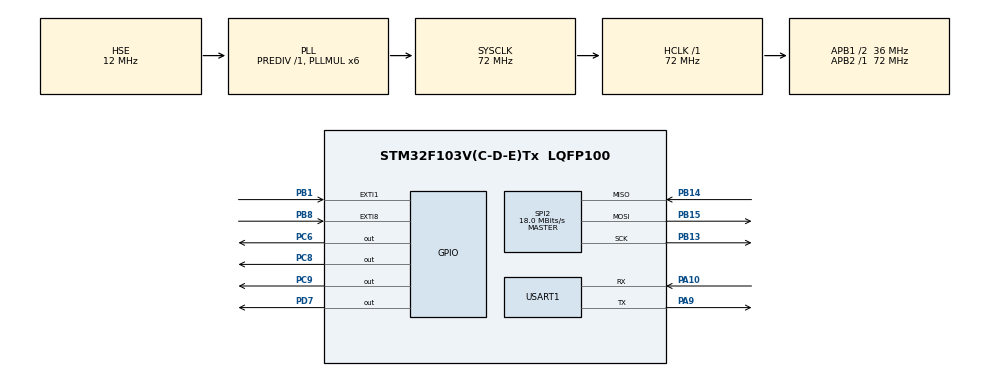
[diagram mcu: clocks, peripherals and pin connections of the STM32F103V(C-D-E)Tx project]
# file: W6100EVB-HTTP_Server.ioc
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Mcu.Family=STM32F1
Mcu.Name=STM32F103V(C-D-E)Tx
Mcu.Package=LQFP100
NVIC.PriorityGroup=NVIC_PRIORITYGROUP_4
NVIC.USART1_IRQn=true\:0\:0\:false\:false\:true\:true\:true
OSC_IN.Mode=HSE-External-Oscillator
OSC_IN.Signal=RCC_OSC_IN
OSC_OUT.Mode=HSE-External-Oscillator
OSC_OUT.Signal=RCC_OSC_OUT
PA10.Mode=Asynchronous
PA10.Signal=USART1_RX
PA13.Mode=Serial_Wire
PA13.Signal=SYS_JTMS-SWDIO
PA14.Mode=Serial_Wire
PA14.Signal=SYS_JTCK-SWCLK
PA9.Mode=Asynchronous
PA9.Signal=USART1_TX
PB1.Signal=GPXTI1
PB13.Mode=Full_Duplex_Master
PB13.Signal=SPI2_SCK
PB14.Mode=Full_Duplex_Master
PB14.Signal=SPI2_MISO
PB15.Mode=Full_Duplex_Master
PB15.Signal=SPI2_MOSI
PB8.Signal=GPXTI8
PC6.Signal=GPIO_Output
PC8.Signal=GPIO_Output
PC9.Signal=GPIO_Output
PD7.Signal=GPIO_Output
ProjectManager.HeapSize=0x200
ProjectManager.StackSize=0x400
ProjectManager.TargetToolchain=TrueSTUDIO
RCC.AHBFreq_Value=72000000
RCC.APB1CLKDivider=RCC_HCLK_DIV2
RCC.APB1Freq_Value=36000000
RCC.APB1TimFreq_Value=72000000
RCC.APB2Freq_Value=72000000
RCC.APB2TimFreq_Value=72000000
RCC.HCLKFreq_Value=72000000
RCC.HSE_VALUE=12000000
RCC.PLLMUL=RCC_PLL_MUL6
RCC.PLLSourceVirtual=RCC_PLLSOURCE_HSE
RCC.SYSCLKFreq_VALUE=72000000
RCC.SYSCLKSource=RCC_SYSCLKSOURCE_PLLCLK
RCC.USBFreq_Value=72000000
SPI2.BaudRatePrescaler=SPI_BAUDRATEPRESCALER_2
SPI2.CalculateBaudRate=18.0 MBits/s
SPI2.Direction=SPI_DIRECTION_2LINES
SPI2.Mode=SPI_MODE_MASTER
SPI2.VirtualType=VM_MASTER
USART1.VirtualMode=VM_ASYNC
board=custom

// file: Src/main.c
/* USER CODE BEGIN Header */
/**
  ******************************************************************************
  * @file           : main.c
  * @brief          : Main program body
  ******************************************************************************
  * @attention
  *
  * <h2><center>&copy; Copyright (c) 2019 STMicroelectronics.
  * All rights reserved.</center></h2>
  *
  * This software component is licensed by ST under BSD 3-Clause license,
  * the "License"; You may not use this file except in compliance with the
  * License. You may obtain a copy of the License at:
  *                        opensource.org/licenses/BSD-3-Clause
  *
  ******************************************************************************
  */
/* USER CODE END Header */

#include "main.h"

/* USER CODE BEGIN Includes */
#include "loopback.h"
#include "socket.h"
#include "httpServer.h"
#include "webpage.h"
#include "board_init.h"
/* USER CODE END Includes */

/* USER CODE BEGIN PTD */
#define SOCK_TCPS       0
#define SOCK_UDPS       1
#define PORT_TCPS		5000
#define PORT_UDPS       3000

#define MAX_HTTPSOCK	4

// Addfess Family v4
#define AF_INET 2
// Addfess Family v6
#define AF_INET6 23
// Addfess Family DUAL
#define AF_INET_DUAL 11
/* USER CODE END PTD */

/* USER CODE BEGIN PD */
uint8_t socknumlist[] = {2, 3, 4, 5};

uint8_t RX_BUF[DATA_BUF_SIZE];
uint8_t TX_BUF[DATA_BUF_SIZE];
uint8_t URX_BUF[DATA_BUF_SIZE];
unsigned int URX_BUF_cnt = 0;
unsigned int URX_BUF_Flag = 0;
/* USER CODE END PD */

SPI_HandleTypeDef hspi2;

UART_HandleTypeDef huart1;

/* USER CODE BEGIN PV */
wiz_NetInfo gWIZNETINFO = { .mac = {0x00,0x08,0xdc,0xff,0xff,0xff},
							.ip = {192,168,0,13},
							.sn = {255, 255, 255, 0},
							.gw = {192, 168, 0, 1},
							.dns = {168, 126, 63, 1},
							.lla = {0xfe,0x80, 0x00,0x00,
								 0x00,0x00, 0x00,0x00,
								 0x02,0x08, 0xdc,0xff,
								 0xfe,0xff, 0xff,0xff},
				            .gua={0x20,0x01,0x02,0xb8,
								 0x00,0x10,0x00,0x01,
								 0x02,0x08,0xdc,0xff,
								 0xfe,0xff,0xff,0xff},
				            .sn6={0xff,0xff,0xff,0xff,
								 0xff,0xff,0xff,0xff,
								 0x00,0x00,0x00, 0x00,
								 0x00,0x00,0x00,0x00},
				            .gw6={0xfe, 0x80, 0x00,0x00,
								  0x00,0x00,0x00,0x00,
								  0x02,0x00, 0x87,0xff,
								  0xfe,0x08, 0x4c,0x81}
							};

uint8_t WIZ_Dest_IP[4] = {192, 168, 0, 232};                  //DST_IP Address

uint8_t DestIP6_L[16] = {0xfe,0x80, 0x00,0x00,
						  0x00,0x00, 0x00,0x00,
                          0x31,0x71,0x98,0x05,
                          0x70,0x24,0x4b,0xb1
						};

uint8_t DestIP6_G[16] = {0x20,0x01,0x02,0xb8,
                          0x00,0x10,0x00,0x01,
                          0x31,0x71,0x98,0x05,
                          0x70,0x24,0x4b,0xb1
                         };

uint8_t Router_IP[16]= {0xff,0x02,0x00,0x00,
                          0x00,0x00,0x00,0x00,
                          0x00,0x00,0x00,0x00,
                          0x00,0x00,0x00,0x02
                         };
uint8_t data_buf[2048];
void print_network_information(void);
void wep_define_func(void);
/* USER CODE END PV */

void SystemClock_Config(void);
static void MX_GPIO_Init(void);
static void MX_SPI2_Init(void);
static void MX_USART1_UART_Init(void);
/* USER CODE BEGIN PFP */
uint8_t rxData;

// Using printf Function
int _write(int fd, char *str, int len)
{
	for(int i=0; i<len; i++)
	{
		HAL_UART_Transmit(&huart1, (uint8_t *)&str[i], 1, 0xFFFF);
	}
	return len;
}

void HAL_UART_RxCpltCallback(UART_HandleTypeDef *huart) {

    /*
        This will be called once data is received successfully,
        via interrupts.
    */

     /*
       loop back received data
     */
     HAL_UART_Receive_IT(&huart1, &rxData, 1);
     HAL_UART_Transmit(&huart1, &rxData, 1, 1000);
     //massage input end enter key flag
     URX_BUF[URX_BUF_cnt++] = rxData;
     if((rxData == '\r') ||(URX_BUF_cnt > DATA_BUF_SIZE))
     {
    	 URX_BUF_Flag = 1;
     }
}
/* USER CODE END PFP */

int main(void)
{
  /* USER CODE BEGIN 1 */
  uint8_t syslock = SYS_NET_LOCK;
  uint8_t i;
  /* USER CODE END 1 */

  /* MCU Configuration--------------------------------------------------------*/

  /* Reset of all peripherals, Initializes the Flash interface and the Systick. */
  HAL_Init();

  /* Configure the system clock */
  SystemClock_Config();

  /* Initialize all configured peripherals */
  MX_GPIO_Init();
  MX_SPI2_Init();
  MX_USART1_UART_Init();
  /* USER CODE BEGIN 2 */
  HAL_UART_Receive_IT(&huart1, &rxData, 1);

  printf("< W6100EVB Web Server & Loop Back TEST!! > \r\n");
  HAL_GPIO_WritePin(GPIOC, GPIO_PIN_6, GPIO_PIN_SET);
  HAL_GPIO_WritePin(GPIOC, GPIO_PIN_8, GPIO_PIN_SET);
  HAL_GPIO_WritePin(GPIOC, GPIO_PIN_9, GPIO_PIN_SET);

  BoardInitialze();

  ctlwizchip(CW_SYS_UNLOCK,& syslock);
  ctlnetwork(CN_SET_NETINFO,&gWIZNETINFO);

  printf("VERSION(%x) = %.2x \r\n", _VER_, getVER());
  print_network_information();

  /* HTTP Server Initialization  */
  httpServer_init(TX_BUF, RX_BUF, MAX_HTTPSOCK, socknumlist);		// Tx/Rx buffers (1kB) / The number of W5500 chip H/W sockets in use

  /* Web content registration (web content in webpage.h, Example web pages) */
  wep_define_func();
  /* USER CODE END 2 */

  /* Infinite loop */
  while (1)
  {

    /* USER CODE BEGIN 3 */
	//message input serial display & send tcp client message
	if(URX_BUF_Flag)
	{
		URX_BUF_Flag = 0;
		URX_BUF[URX_BUF_cnt] = 0;
		printf("\r\n input:%s\r\n", URX_BUF);
		if(getSn_SR(1) == SOCK_ESTABLISHED)
			send(1, URX_BUF, URX_BUF_cnt);
		URX_BUF_cnt = 0;
	}

	//HTTP Server
	for(i = 0; i < MAX_HTTPSOCK; i++)	httpServer_run(i); 	// HTTP Server handler

	//loopback server
	loopback_tcps(0, data_buf, 5000, AS_IPV6);
	loopback_tcps(1, data_buf, 5001, AS_IPV4);
  }
  /* USER CODE END 3 */
}

void SystemClock_Config(void)
{
  RCC_OscInitTypeDef RCC_OscInitStruct = {0};
  RCC_ClkInitTypeDef RCC_ClkInitStruct = {0};

  /** Initializes the CPU, AHB and APB busses clocks
  */
  RCC_OscInitStruct.OscillatorType = RCC_OSCILLATORTYPE_HSE;
  RCC_OscInitStruct.HSEState = RCC_HSE_ON;
  RCC_OscInitStruct.HSEPredivValue = RCC_HSE_PREDIV_DIV1;
  RCC_OscInitStruct.HSIState = RCC_HSI_ON;
  RCC_OscInitStruct.PLL.PLLState = RCC_PLL_ON;
  RCC_OscInitStruct.PLL.PLLSource = RCC_PLLSOURCE_HSE;
  RCC_OscInitStruct.PLL.PLLMUL = RCC_PLL_MUL6;
  if (HAL_RCC_OscConfig(&RCC_OscInitStruct) != HAL_OK)
  {
    Error_Handler();
  }
  /** Initializes the CPU, AHB and APB busses clocks
  */
  RCC_ClkInitStruct.ClockType = RCC_CLOCKTYPE_HCLK|RCC_CLOCKTYPE_SYSCLK
                              |RCC_CLOCKTYPE_PCLK1|RCC_CLOCKTYPE_PCLK2;
  RCC_ClkInitStruct.SYSCLKSource = RCC_SYSCLKSOURCE_PLLCLK;
  RCC_ClkInitStruct.AHBCLKDivider = RCC_SYSCLK_DIV1;
  RCC_ClkInitStruct.APB1CLKDivider = RCC_HCLK_DIV2;
  RCC_ClkInitStruct.APB2CLKDivider = RCC_HCLK_DIV1;

  if (HAL_RCC_ClockConfig(&RCC_ClkInitStruct, FLASH_LATENCY_2) != HAL_OK)
  {
    Error_Handler();
  }
}

static void MX_SPI2_Init(void)
{

  /* SPI2 parameter configuration*/
  hspi2.Instance = SPI2;
  hspi2.Init.Mode = SPI_MODE_MASTER;
  hspi2.Init.Direction = SPI_DIRECTION_2LINES;
  hspi2.Init.DataSize = SPI_DATASIZE_8BIT;
  hspi2.Init.CLKPolarity = SPI_POLARITY_LOW;
  hspi2.Init.CLKPhase = SPI_PHASE_1EDGE;
  hspi2.Init.NSS = SPI_NSS_SOFT;
  hspi2.Init.BaudRatePrescaler = SPI_BAUDRATEPRESCALER_2;
  hspi2.Init.FirstBit = SPI_FIRSTBIT_MSB;
  hspi2.Init.TIMode = SPI_TIMODE_DISABLE;
  hspi2.Init.CRCCalculation = SPI_CRCCALCULATION_DISABLE;
  hspi2.Init.CRCPolynomial = 10;
  if (HAL_SPI_Init(&hspi2) != HAL_OK)
  {
    Error_Handler();
  }

}

static void MX_USART1_UART_Init(void)
{

  huart1.Instance = USART1;
  huart1.Init.BaudRate = 115200;
  huart1.Init.WordLength = UART_WORDLENGTH_8B;
  huart1.Init.StopBits = UART_STOPBITS_1;
  huart1.Init.Parity = UART_PARITY_NONE;
  huart1.Init.Mode = UART_MODE_TX_RX;
  huart1.Init.HwFlowCtl = UART_HWCONTROL_NONE;
  huart1.Init.OverSampling = UART_OVERSAMPLING_16;
  if (HAL_UART_Init(&huart1) != HAL_OK)
  {
    Error_Handler();
  }

}

static void MX_GPIO_Init(void)
{
  GPIO_InitTypeDef GPIO_InitStruct = {0};

  /* GPIO Ports Clock Enable */
  __HAL_RCC_GPIOB_CLK_ENABLE();
  __HAL_RCC_GPIOC_CLK_ENABLE();
  __HAL_RCC_GPIOA_CLK_ENABLE();
  __HAL_RCC_GPIOD_CLK_ENABLE();

  /*Configure GPIO pin Output Level */
  HAL_GPIO_WritePin(GPIOC, GPIO_PIN_6|GPIO_PIN_8|GPIO_PIN_9, GPIO_PIN_RESET);

  /*Configure GPIO pin Output Level */
  HAL_GPIO_WritePin(GPIOD, GPIO_PIN_7, GPIO_PIN_RESET);

  /*Configure GPIO pins : PB1 PB8 */
  GPIO_InitStruct.Pin = GPIO_PIN_1|GPIO_PIN_8;
  GPIO_InitStruct.Mode = GPIO_MODE_IT_RISING;
  GPIO_InitStruct.Pull = GPIO_NOPULL;
  HAL_GPIO_Init(GPIOB, &GPIO_InitStruct);

  /*Configure GPIO pins : PC6 PC8 PC9 */
  GPIO_InitStruct.Pin = GPIO_PIN_6|GPIO_PIN_8|GPIO_PIN_9;
  GPIO_InitStruct.Mode = GPIO_MODE_OUTPUT_PP;
  GPIO_InitStruct.Pull = GPIO_NOPULL;
  GPIO_InitStruct.Speed = GPIO_SPEED_FREQ_LOW;
  HAL_GPIO_Init(GPIOC, &GPIO_InitStruct);

  /*Configure GPIO pin : PD7 */
  GPIO_InitStruct.Pin = GPIO_PIN_7;
  GPIO_InitStruct.Mode = GPIO_MODE_OUTPUT_PP;
  GPIO_InitStruct.Pull = GPIO_NOPULL;
  GPIO_InitStruct.Speed = GPIO_SPEED_FREQ_LOW;
  HAL_GPIO_Init(GPIOD, &GPIO_InitStruct);

}

/* USER CODE BEGIN 4 */
/* USER CODE BEGIN 4 */
void print_network_information(void)
{
	wizchip_getnetinfo(&gWIZNETINFO);
	printf("Mac address: %02x:%02x:%02x:%02x:%02x:%02x\n\r",gWIZNETINFO.mac[0],gWIZNETINFO.mac[1],gWIZNETINFO.mac[2],gWIZNETINFO.mac[3],gWIZNETINFO.mac[4],gWIZNETINFO.mac[5]);
	printf("IP address : %d.%d.%d.%d\n\r",gWIZNETINFO.ip[0],gWIZNETINFO.ip[1],gWIZNETINFO.ip[2],gWIZNETINFO.ip[3]);
	printf("SN Mask	   : %d.%d.%d.%d\n\r",gWIZNETINFO.sn[0],gWIZNETINFO.sn[1],gWIZNETINFO.sn[2],gWIZNETINFO.sn[3]);
	printf("Gate way   : %d.%d.%d.%d\n\r",gWIZNETINFO.gw[0],gWIZNETINFO.gw[1],gWIZNETINFO.gw[2],gWIZNETINFO.gw[3]);
	printf("DNS Server : %d.%d.%d.%d\n\r",gWIZNETINFO.dns[0],gWIZNETINFO.dns[1],gWIZNETINFO.dns[2],gWIZNETINFO.dns[3]);
	printf("LLA  : %.2X%.2X:%.2X%.2X:%.2X%.2X:%.2X%.2X:%.2X%.2X:%.2X%.2X:%.2X%.2X:%.2X%.2X\r\n",gWIZNETINFO.lla[0],gWIZNETINFO.lla[1],gWIZNETINFO.lla[2],gWIZNETINFO.lla[3],\
									gWIZNETINFO.lla[4],gWIZNETINFO.lla[5],gWIZNETINFO.lla[6],gWIZNETINFO.lla[7],\
									gWIZNETINFO.lla[8],gWIZNETINFO.lla[9],gWIZNETINFO.lla[10],gWIZNETINFO.lla[11],\
									gWIZNETINFO.lla[12],gWIZNETINFO.lla[13],gWIZNETINFO.lla[14],gWIZNETINFO.lla[15]);
	printf("GUA  : %.2X%.2X:%.2X%.2X:%.2X%.2X:%.2X%.2X:%.2X%.2X:%.2X%.2X:%.2X%.2X:%.2X%.2X\n\r",gWIZNETINFO.gua[0],gWIZNETINFO.gua[1],gWIZNETINFO.gua[2],gWIZNETINFO.gua[3],\
									gWIZNETINFO.gua[4],gWIZNETINFO.gua[5],gWIZNETINFO.gua[6],gWIZNETINFO.gua[7],\
									gWIZNETINFO.gua[8],gWIZNETINFO.gua[9],gWIZNETINFO.gua[10],gWIZNETINFO.gua[11],\
									gWIZNETINFO.gua[12],gWIZNETINFO.gua[13],gWIZNETINFO.gua[14],gWIZNETINFO.gua[15]);
	printf("SN6  : %.2X%.2X:%.2X%.2X:%.2X%.2X:%.2X%.2X:%.2X%.2X:%.2X%.2X:%.2X%.2X:%.2X%.2X\n\r",gWIZNETINFO.sn6[0],gWIZNETINFO.sn6[1],gWIZNETINFO.sn6[2],gWIZNETINFO.sn6[3],\
									gWIZNETINFO.sn6[4],gWIZNETINFO.sn6[5],gWIZNETINFO.sn6[6],gWIZNETINFO.sn6[7],\
									gWIZNETINFO.sn6[8],gWIZNETINFO.sn6[9],gWIZNETINFO.sn6[10],gWIZNETINFO.sn6[11],\
									gWIZNETINFO.sn6[12],gWIZNETINFO.sn6[13],gWIZNETINFO.sn6[14],gWIZNETINFO.sn6[15]);
	printf("GW6  : %.2X%.2X:%.2X%.2X:%.2X%.2X:%.2X%.2X:%.2X%.2X:%.2X%.2X:%.2X%.2X:%.2X%.2X\r\n",gWIZNETINFO.gw6[0],gWIZNETINFO.gw6[1],gWIZNETINFO.gw6[2],gWIZNETINFO.gw6[3],\
									gWIZNETINFO.gw6[4],gWIZNETINFO.gw6[5],gWIZNETINFO.gw6[6],gWIZNETINFO.gw6[7],\
									gWIZNETINFO.gw6[8],gWIZNETINFO.gw6[9],gWIZNETINFO.gw6[10],gWIZNETINFO.gw6[11],\
									gWIZNETINFO.gw6[12],gWIZNETINFO.gw6[13],gWIZNETINFO.gw6[14],gWIZNETINFO.gw6[15]);

}

void wep_define_func(void)
{
	// Index page and netinfo / base64 image demo
	reg_httpServer_webContent((uint8_t *)"index.html", (uint8_t *)index_page);				// index.html 		: Main page example
	reg_httpServer_webContent((uint8_t *)"netinfo.html", (uint8_t *)netinfo_page);			// netinfo.html 	: Network information example page
	reg_httpServer_webContent((uint8_t *)"netinfo.js", (uint8_t *)wiz6100web_netinfo_js);	// netinfo.js 		: JavaScript for Read Network configuration 	(+ ajax.js)
	reg_httpServer_webContent((uint8_t *)"img.html", (uint8_t *)img_page);					// img.html 		: Base64 Image data example page

	// Example #1
	reg_httpServer_webContent((uint8_t *)"dio.html", (uint8_t *)dio_page);					// dio.html 		: Digital I/O control example page
	reg_httpServer_webContent((uint8_t *)"dio.js", (uint8_t *)wiz6100web_dio_js);			// dio.js 			: JavaScript for digital I/O control 	(+ ajax.js)

	// AJAX JavaScript functions
	reg_httpServer_webContent((uint8_t *)"ajax.js", (uint8_t *)wiz6100web_ajax_js);			// ajax.js			: JavaScript for AJAX request transfer

}
/* USER CODE END 4 */

void Error_Handler(void)
{
}

/************************ (C) COPYRIGHT STMicroelectronics *****END OF FILE****/
